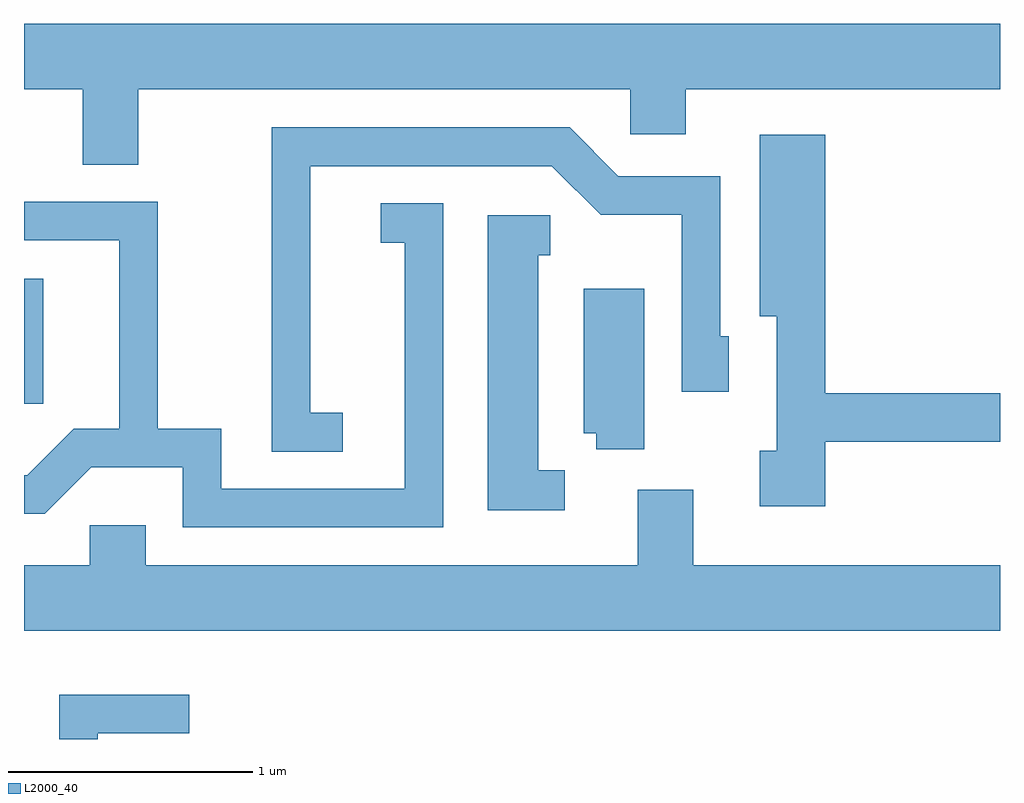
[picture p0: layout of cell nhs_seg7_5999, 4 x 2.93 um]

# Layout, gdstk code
import gdstk
lib = gdstk.Library(unit=1e-6, precision=1e-09)
def R(c, l, rs):  # rectangles x0, y0, x1, y1
    for r in rs: c.add(gdstk.rectangle(r[:2], r[2:], *l))
def P(c, l, *ps):  # polygons
    for p in ps: c.add(gdstk.Polygon(p, *l))
L2000_40 = (2000, 40)

nhs_seg7_5999 = lib.new_cell('nhs_seg7_5999')
R(nhs_seg7_5999, L2000_40, [(367.611,1779.626,367.689,1780.139)])
P(nhs_seg7_5999, L2000_40, [(368.079,1780.916),(370.096,1780.916),(370.096,1780.731),(370.324,1780.731),(370.324,1780.916),(371.611,1780.916),(371.611,1781.184),(367.611,1781.184),(367.611,1780.916),(367.851,1780.916),(367.851,1780.606),(368.079,1780.606)],
  [(368.918,1779.589),(368.784,1779.589),(368.784,1780.601),(369.774,1780.601),(369.974,1780.401),(370.306,1780.401),(370.306,1779.676),(370.499,1779.676),(370.499,1779.904),(370.464,1779.904),(370.464,1780.559),(370.047,1780.559),(369.847,1780.759),(368.626,1780.759),(368.626,1779.431),(368.918,1779.431)],
  [(370.894,1779.471),(371.611,1779.471),(371.611,1779.669),(370.894,1779.669),(370.894,1780.729),(370.626,1780.729),(370.626,1779.986),(370.696,1779.986),(370.696,1779.434),(370.626,1779.434),(370.626,1779.206),(370.894,1779.206)],
  [(369.329,1780.449),(369.073,1780.449),(369.073,1780.286),(369.171,1780.286),(369.171,1779.279),(368.419,1779.279),(368.419,1779.524),(368.159,1779.524),(368.159,1780.454),(367.611,1780.454),(367.611,1780.296),(368.001,1780.296),(368.001,1779.524),(367.814,1779.524),(367.624,1779.334),(367.611,1779.334),(367.611,1779.176),(367.697,1779.176),(367.887,1779.366),(368.261,1779.366),(368.261,1779.121),(369.329,1779.121)],
  [(369.828,1779.354),(369.719,1779.354),(369.719,1780.236),(369.768,1780.236),(369.768,1780.399),(369.511,1780.399),(369.511,1779.191),(369.828,1779.191)],
  [(370.154,1780.099),(369.906,1780.099),(369.906,1779.506),(369.956,1779.506),(369.956,1779.441),(370.154,1779.441)],
  [(371.611,1778.964),(370.354,1778.964),(370.354,1779.274),(370.126,1779.274),(370.126,1778.964),(368.109,1778.964),(368.109,1779.129),(367.881,1779.129),(367.881,1778.964),(367.611,1778.964),(367.611,1778.696),(371.611,1778.696)],
  [(367.914,1778.276),(368.288,1778.276),(368.288,1778.434),(367.756,1778.434),(367.756,1778.252),(367.914,1778.252)])

lib.write_gds('nhs_seg7_5999.gds')
